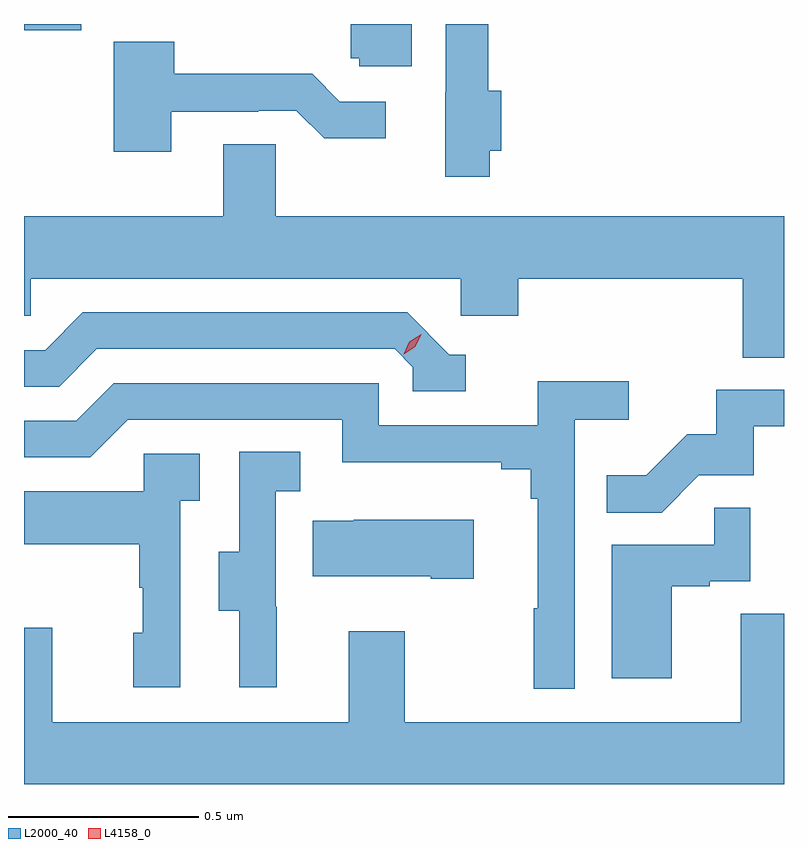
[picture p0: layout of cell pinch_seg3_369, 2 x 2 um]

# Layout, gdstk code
import gdstk
lib = gdstk.Library(unit=1e-6, precision=1e-09)
def R(c, l, rs):  # rectangles x0, y0, x1, y1
    for r in rs: c.add(gdstk.rectangle(r[:2], r[2:], *l))
def P(c, l, *ps):  # polygons
    for p in ps: c.add(gdstk.Polygon(p, *l))
L2000_40 = (2000, 40)
L4158_0 = (4158, 0)

pinch_seg3_369 = lib.new_cell('pinch_seg3_369')
R(pinch_seg3_369, L2000_40, [(996.075,698.906,996.226,698.922)])
P(pinch_seg3_369, L2000_40, [(997.096,698.922),(996.935,698.922),(996.935,698.832),(996.957,698.832),(996.957,698.811),(997.096,698.811)],
  [(997.301,698.588),(997.331,698.588),(997.331,698.746),(997.297,698.746),(997.297,698.922),(997.185,698.922),(997.185,698.742),(997.184,698.742),(997.184,698.52),(997.301,698.52)],
  [(996.463,698.691),(996.692,698.691),(996.692,698.694),(996.792,698.694),(996.865,698.621),(997.027,698.621),(997.027,698.718),(996.906,698.718),(996.833,698.791),(996.471,698.791),(996.471,698.875),(996.311,698.875),(996.311,698.586),(996.463,698.586)],
  [(998.075,698.416),(996.738,698.416),(996.738,698.606),(996.599,698.606),(996.599,698.416),(996.075,698.416),(996.075,698.154),(996.093,698.154),(996.093,698.252),(997.224,698.252),(997.224,698.154),(997.376,698.154),(997.376,698.252),(997.967,698.252),(997.967,698.044),(998.075,698.044)],
  [(997.237,698.052),(997.194,698.052),(997.083,698.163),(996.23,698.163),(996.131,698.064),(996.075,698.064),(996.075,697.968),(996.168,697.968),(996.267,698.067),(997.05,698.067),(997.098,698.019),(997.098,697.956),(997.237,697.956)],
  [(997.524,697.88),(997.666,697.88),(997.666,697.982),(997.427,697.982),(997.427,697.866),(997.008,697.866),(997.008,697.977),(996.311,697.977),(996.212,697.878),(996.075,697.878),(996.075,697.782),(996.249,697.782),(996.348,697.881),(996.912,697.881),(996.912,697.769),(997.331,697.769),(997.331,697.75),(997.408,697.75),(997.408,697.673),(997.427,697.673),(997.427,697.385),(997.416,697.385),(997.416,697.173),(997.524,697.173)],
  [(997.851,697.734),(997.995,697.734),(997.995,697.863),(998.075,697.863),(998.075,697.959),(997.897,697.959),(997.897,697.842),(997.82,697.842),(997.713,697.735),(997.609,697.735),(997.609,697.636),(997.753,697.636)],
  [(996.74,697.389),(996.738,697.389),(996.738,697.693),(996.802,697.693),(996.802,697.796),(996.642,697.796),(996.642,697.533),(996.587,697.533),(996.587,697.378),(996.641,697.378),(996.641,697.176),(996.74,697.176)],
  [(996.486,697.667),(996.538,697.667),(996.538,697.791),(996.39,697.791),(996.39,697.693),(996.075,697.693),(996.075,697.553),(996.378,697.553),(996.378,697.439),(996.388,697.439),(996.388,697.32),(996.362,697.32),(996.362,697.176),(996.486,697.176)],
  [(997.78,697.443),(997.88,697.443),(997.88,697.455),(997.986,697.455),(997.986,697.649),(997.891,697.649),(997.891,697.551),(997.622,697.551),(997.622,697.2),(997.78,697.2)],
  [(997.258,697.618),(996.943,697.618),(996.943,697.615),(996.835,697.615),(996.835,697.469),(997.145,697.469),(997.145,697.462),(997.258,697.462)],
  [(998.075,697.37),(997.961,697.37),(997.961,697.084),(997.077,697.084),(997.077,697.324),(996.929,697.324),(996.929,697.084),(996.149,697.084),(996.149,697.333),(996.075,697.333),(996.075,696.922),(998.075,696.922)])
P(pinch_seg3_369, L4158_0, [(997.074,698.053),(997.074,698.053),(997.089,698.086),(997.12,698.106),(997.12,698.106),(997.12,698.106),(997.104,698.073),(997.074,698.053)])

lib.write_gds('pinch_seg3_369.gds')
